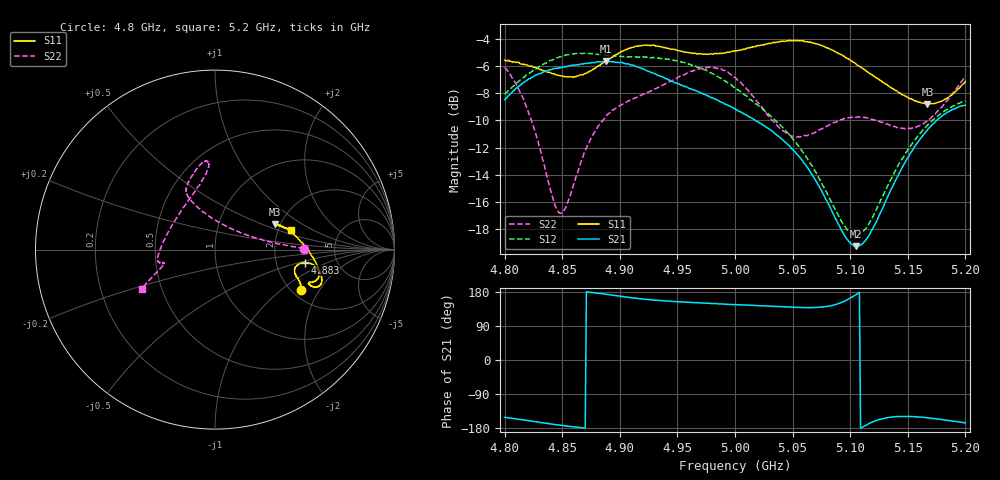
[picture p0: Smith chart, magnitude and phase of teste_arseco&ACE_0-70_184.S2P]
! Network Analyzer HP8722D
! Hewlett-Packard
! Data name: Linha & Wilkinson
! Saver's name: Rodrigo Anjos
! Comments: Teste da utilização de aquisição
! continua pelo VNA HP8722D
! Time and date: 8/5/2025 14:17
!  Frequency  S11  S21  S12  S22
# HZ  S  MA R 50
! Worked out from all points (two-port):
!   401 points, 4.8 GHz to 5.2 GHz, reference 50 ohm
!   highest |S21| = -5.65 dB at 4.888 GHz (marker M1); lowest = -19.2 dB at 5.105 GHz (marker M2)
!   |S21| within 3 dB of the highest: start of sweep to 4.988 GHz
!   lowest |S11| = -8.8 dB at 5.167 GHz (marker M3), VSWR 2.14, Z = 93.9 + j30.5 ohm
!   |S11| at or under -10 dB: nowhere
!   |S22| runs from -16.8 to -6.1 dB; largest |S21 - S12| = 1.1
!   S11 on the Smith chart (normalised r, x): 4.8 GHz: 2.23, -1.38; 4.883 GHz: 2.92, -0.57; 5.2 GHz: 2.36, +0.65
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4.8e9  0.527 -25.2  0.3772 -151.2  0.3948 8.0  0.4945 0.6
4.82e9  0.5044 -20.6  0.446 -159.8  0.4685 5.2  0.346 5.7
4.842e9  0.4698 -17.4  0.4894 -169.6  0.528 1.7  0.1638 38.1
4.847e9  0.4629 -16.1  0.4941 -171.6  0.5405 0.7  0.1452 56.9
4.853e9  0.4584 -14.8  0.497 -173.8  0.55 -0.2  0.1511 79.8
4.867e9  0.4655 -10.9  0.5101 -178.8  0.5565 -2.2  0.2271 108.9
4.883e9  0.5054 -8.3  0.5193 175.3  0.5513 -3.5  0.3075 115.9
4.888e9  0.522 -8.2  0.5221 173.5  0.5497 -3.4  0.3283 116.8
4.912e9  0.5875 -11.6  0.5048 163.7  0.5407 -2.6  0.38 114.8
4.934e9  0.5927 -16.5  0.4625 156.9  0.537 -3.4  0.4195 109.0
4.975e9  0.5537 -19.7  0.3923 149.8  0.4847 -7.2  0.4935 96.5
5e9  0.5706 -20.4  0.3489 146.0  0.4191 -7.0  0.4557 94.8
5.044e9  0.6193 -18.5  0.2621 140.0  0.29 1.5  0.2853 132.3
5.067e9  0.6104 -14.0  0.1999 138.4  0.2152 8.6  0.2829 164.9
5.094e9  0.5456 -4.4  0.1218 153.9  0.1315 33.6  0.3203 -173.1
5.105e9  0.5108 0.8  0.1092 172.3  0.1195 54.8  0.3244 -169.5
5.115e9  0.4776 5.8  0.1172 -169.6  0.1295 74.2  0.3228 -167.3
5.134e9  0.4213 15.2  0.171 -151.2  0.1875 94.3  0.305 -166.2
5.152e9  0.3801 21.4  0.2386 -149.1  0.2535 99.5  0.2955 -164.6
5.167e9  0.3634 22.9  0.2913 -152.6  0.3039 100.2  0.3153 -161.5
5.183e9  0.3794 20.4  0.3353 -158.6  0.3455 100.2  0.369 -157.2
5.2e9  0.4402 14.6  0.3601 -166.0  0.3737 100.7  0.4588 -151.8
